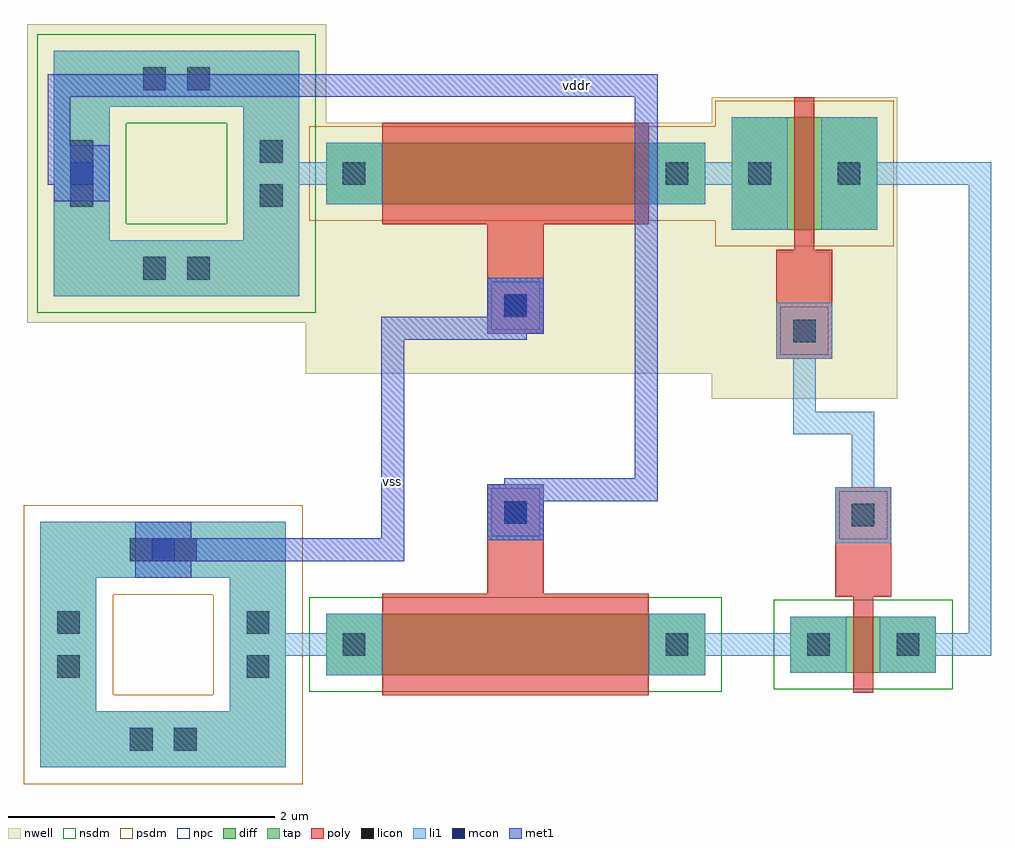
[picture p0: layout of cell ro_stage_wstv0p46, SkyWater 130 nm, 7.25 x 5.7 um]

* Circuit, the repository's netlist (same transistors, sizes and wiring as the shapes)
* extracted by klt extract --deck sky130

* cell ro_stage_wstv0p46
* pin a
* pin mnt_g,vddr
* pin mph_g,vss
* pin ny
* pin py
* pin y
.SUBCKT ro_stage_wstv0p46 a mnt_g|vddr mph_g|vss ny py y
* device instance $1 r0 *1 4.025,0.21 nfet
M$1 y a ny mph_g|vss nfet L=0.15U W=0.42U AS=0.1974P AD=0.1974P PS=1.78U
+ PD=1.78U
* device instance $2 r0 *1 1.42,0.21 nfet
M$2 ny mnt_g|vddr mph_g|vss mph_g|vss nfet L=2U W=0.46U AS=0.1932P AD=0.1932P
+ PS=1.76U PD=1.76U
* device instance $3 r0 *1 1.42,3.74 pfet
M$3 py mph_g|vss mnt_g|vddr mnt_g|vddr pfet L=2U W=0.46U AS=0.1932P AD=0.1932P
+ PS=1.76U PD=1.76U
* device instance $4 r0 *1 3.585,3.74 pfet
M$4 y a py mnt_g|vddr pfet L=0.15U W=0.84U AS=0.3948P AD=0.3948P PS=2.62U
+ PD=2.62U
.ENDS ro_stage_wstv0p46

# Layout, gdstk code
import gdstk
lib = gdstk.Library(unit=1e-6, precision=1e-09)
def R(c, l, rs):  # rectangles x0, y0, x1, y1
    for r in rs: c.add(gdstk.rectangle(r[:2], r[2:], *l))
def P(c, l, *ps):  # polygons
    for p in ps: c.add(gdstk.Polygon(p, *l))
nwell = (64, 20)
diff = (65, 20)
tap = (65, 44)
poly = (66, 20)
licon = (66, 44)
li1 = (67, 20)
mcon = (67, 44)
met1 = (68, 20)
nsdm = (93, 44)
psdm = (94, 20)
npc = (95, 20)

mos_array_3 = lib.new_cell('mos_array$3')
R(mos_array_3, nwell, [(-0.15,-0.15,1.24,2.11)])
R(mos_array_3, diff, [(0,0,1.09,0.84)])
R(mos_array_3, poly, [(0.47,-0.15,0.62,0.84), (0.47,0.84,0.62,0.99), (0.47,0.84,0.62,0.99), (0.335,0.99,0.755,1.81)])
R(mos_array_3, licon, [(0.125,0.335,0.295,0.505), (0.795,0.335,0.965,0.505), (0.46,1.515,0.63,1.685)])
R(mos_array_3, li1, [(0,0,0.42,0.84), (0.67,0,1.09,0.84), (0.335,1.39,0.755,1.81)])
R(mos_array_3, psdm, [(-0.125,-0.125,1.215,0.965)])
R(mos_array_3, npc, [(0.365,1.42,0.725,1.78)])

mp__mp = lib.new_cell('mp__mp')
mp__mp.add(gdstk.Reference(mos_array_3, (0,0)))

guard_ring_1 = lib.new_cell('guard_ring$1')
R(guard_ring_1, nwell, [(-0.2,-0.2,2.04,2.04)])
P(guard_ring_1, tap, [(0,0),(0,1.42),(0.42,1.42),(0.42,0.42),(1.42,0.42),(1.42,1.42),(0,1.42),(0,1.84),(1.84,1.84),(1.84,0)])
R(guard_ring_1, licon, [(0.67,0.125,0.84,0.295), (1,0.125,1.17,0.295), (0.125,0.67,0.295,0.84), (1.545,0.67,1.715,0.84), (0.125,1,0.295,1.17), (1.545,1,1.715,1.17), (0.67,1.545,0.84,1.715), (1,1.545,1.17,1.715)])
P(guard_ring_1, li1, [(0,0),(0,1.42),(0.42,1.42),(0.42,0.42),(1.42,0.42),(1.42,1.42),(0,1.42),(0,1.84),(1.84,1.84),(1.84,0)])
P(guard_ring_1, nsdm, [(-0.125,-0.125),(-0.125,1.295),(0.545,1.295),(0.545,0.545),(1.295,0.545),(1.295,1.295),(-0.125,1.295),(-0.125,1.965),(1.965,1.965),(1.965,-0.125)])

nwell_tap__nwell_tap = lib.new_cell('nwell_tap__nwell_tap')
nwell_tap__nwell_tap.add(gdstk.Reference(guard_ring_1, (0,0)))

mos_array_2 = lib.new_cell('mos_array$2')
R(mos_array_2, nwell, [(-0.15,-0.15,2.99,1.73)])
R(mos_array_2, diff, [(0,0,2.84,0.46)])
R(mos_array_2, poly, [(0.42,-0.15,2.42,0.46), (0.42,0.46,2.42,0.61), (0.42,0.46,2.42,0.61), (1.21,0.61,1.63,1.43)])
R(mos_array_2, licon, [(0.125,0.145,0.295,0.315), (2.545,0.145,2.715,0.315), (1.335,1.135,1.505,1.305)])
R(mos_array_2, li1, [(0,0,0.42,0.46), (2.42,0,2.84,0.46), (1.21,1.01,1.63,1.43)])
R(mos_array_2, psdm, [(-0.125,-0.125,2.965,0.585)])
R(mos_array_2, npc, [(1.24,1.04,1.6,1.4)])

mph__mph = lib.new_cell('mph__mph')
mph__mph.add(gdstk.Reference(mos_array_2, (0,0)))

mos_array_1 = lib.new_cell('mos_array$1')
R(mos_array_1, diff, [(0,0,1.09,0.42)])
R(mos_array_1, poly, [(0.47,-0.15,0.62,0.42), (0.47,0.42,0.62,0.57), (0.47,0.42,0.62,0.57), (0.335,0.57,0.755,1.39)])
R(mos_array_1, licon, [(0.125,0.125,0.295,0.295), (0.795,0.125,0.965,0.295), (0.46,1.095,0.63,1.265)])
R(mos_array_1, li1, [(0,0,0.42,0.42), (0.67,0,1.09,0.42), (0.335,0.97,0.755,1.39)])
R(mos_array_1, nsdm, [(-0.125,-0.125,1.215,0.545)])
R(mos_array_1, npc, [(0.365,1,0.725,1.36)])

mn__mn = lib.new_cell('mn__mn')
mn__mn.add(gdstk.Reference(mos_array_1, (0,0)))

guard_ring = lib.new_cell('guard_ring')
P(guard_ring, tap, [(0,0),(0,1.42),(0.42,1.42),(0.42,0.42),(1.42,0.42),(1.42,1.42),(0,1.42),(0,1.84),(1.84,1.84),(1.84,0)])
R(guard_ring, licon, [(0.67,0.125,0.84,0.295), (1,0.125,1.17,0.295), (0.125,0.67,0.295,0.84), (1.545,0.67,1.715,0.84), (0.125,1,0.295,1.17), (1.545,1,1.715,1.17), (0.67,1.545,0.84,1.715), (1,1.545,1.17,1.715)])
P(guard_ring, li1, [(0,0),(0,1.42),(0.42,1.42),(0.42,0.42),(1.42,0.42),(1.42,1.42),(0,1.42),(0,1.84),(1.84,1.84),(1.84,0)])
P(guard_ring, psdm, [(-0.125,-0.125),(-0.125,1.295),(0.545,1.295),(0.545,0.545),(1.295,0.545),(1.295,1.295),(-0.125,1.295),(-0.125,1.965),(1.965,1.965),(1.965,-0.125)])

psub_tap__psub_tap = lib.new_cell('psub_tap__psub_tap')
psub_tap__psub_tap.add(gdstk.Reference(guard_ring, (0,0)))

mos_array = lib.new_cell('mos_array')
R(mos_array, diff, [(0,0,2.84,0.46)])
R(mos_array, poly, [(0.42,-0.15,2.42,0.46), (0.42,0.46,2.42,0.61), (0.42,0.46,2.42,0.61), (1.21,0.61,1.63,1.43)])
R(mos_array, licon, [(0.125,0.145,0.295,0.315), (2.545,0.145,2.715,0.315), (1.335,1.135,1.505,1.305)])
R(mos_array, li1, [(0,0,0.42,0.46), (2.42,0,2.84,0.46), (1.21,1.01,1.63,1.43)])
R(mos_array, nsdm, [(-0.125,-0.125,2.965,0.585)])
R(mos_array, npc, [(1.24,1.04,1.6,1.4)])

mnt__mnt = lib.new_cell('mnt__mnt')
mnt__mnt.add(gdstk.Reference(mos_array, (0,0)))

core__core = lib.new_cell('core__core')
R(core__core, li1, [(3.815,1.18,4.235,1.35), (3.375,2.39,3.795,2.56)])
core__core.add(gdstk.FlexPath([(3.585,2.56),(3.585,1.87),(4.025,1.87),(4.025,1.18)], 0.17, ends="flush", simple_path=True, layer=67, datatype=20))  # li1
core__core.add(gdstk.FlexPath([(3.92,3.74),(4.9,3.74),(4.9,0.21),(4.36,0.21)], 0.17, ends="flush", simple_path=True, layer=67, datatype=20))  # li1
core__core.add(gdstk.FlexPath([(2.63,3.74),(3.25,3.74)], 0.17, ends="flush", simple_path=True, layer=67, datatype=20))  # li1
core__core.add(gdstk.FlexPath([(2.63,0.21),(3.69,0.21)], 0.17, ends="flush", simple_path=True, layer=67, datatype=20))  # li1
core__core.add(gdstk.FlexPath([(0.21,3.74),(-0.41,3.74)], 0.17, ends="flush", simple_path=True, layer=67, datatype=20))  # li1
core__core.add(gdstk.FlexPath([(0.21,0.21),(-0.51,0.21)], 0.17, ends="flush", simple_path=True, layer=67, datatype=20))  # li1
core__core.add(gdstk.Reference(mp__mp, (3.04,4.16), x_reflection=True))
core__core.add(gdstk.Reference(nwell_tap__nwell_tap, (-2.04,2.82)))
core__core.add(gdstk.Reference(mph__mph, (0,3.97), x_reflection=True))
core__core.add(gdstk.Reference(mn__mn, (3.48,0)))
core__core.add(gdstk.Reference(psub_tap__psub_tap, (-2.14,-0.71)))
core__core.add(gdstk.Reference(mnt__mnt, (0,-0.02)))
core__core.add(gdstk.Label('a', (3.805,1.87), layer=67, texttype=5))
core__core.add(gdstk.Label('y', (4.9,2.195), layer=67, texttype=5))
core__core.add(gdstk.Label('py', (2.94,3.74), layer=67, texttype=5))
core__core.add(gdstk.Label('ny', (3.16,0.21), layer=67, texttype=5))
core__core.add(gdstk.Label('vddr', (-0.1,3.74), layer=67, texttype=5))
core__core.add(gdstk.Label('vss', (-0.15,0.21), layer=67, texttype=5))
core__core.add(gdstk.Label('vddr', (-1.83,3.74), layer=67, texttype=5))
core__core.add(gdstk.Label('vss', (-1.22,0.92), layer=67, texttype=5))
core__core.add(gdstk.Label('mph_g', (1.42,2.75), layer=67, texttype=5))
core__core.add(gdstk.Label('mnt_g', (1.42,1.2), layer=67, texttype=5))

ro_stage_wstv0p46 = lib.new_cell('ro_stage_wstv0p46')
R(ro_stage_wstv0p46, li1, [(-1.43,0.71,-1.01,1.13), (1.21,0.99,1.63,1.41), (1.21,2.54,1.63,2.96), (-2.04,3.53,-1.62,3.95)])
R(ro_stage_wstv0p46, mcon, [(-1.305,0.835,-1.135,1.005), (1.335,1.115,1.505,1.285), (1.335,2.665,1.505,2.835), (-1.915,3.655,-1.745,3.825)])
R(ro_stage_wstv0p46, met1, [(-1.43,0.71,-1.01,1.13), (1.21,0.99,1.63,1.41), (1.21,2.54,1.63,2.96), (-2.04,3.53,-1.62,3.95)])
ro_stage_wstv0p46.add(gdstk.FlexPath([(1.42,2.75),(1.42,2.58),(0.5,2.58),(0.5,0.92),(-1.22,0.92),(-1.22,0.92)], 0.17, ends="flush", simple_path=True, layer=68, datatype=20))  # met1
ro_stage_wstv0p46.add(gdstk.FlexPath([(1.42,1.2),(1.42,1.37),(2.4,1.37),(2.4,4.4),(-2,4.4),(-2,3.74),(-1.83,3.74)], 0.17, ends="flush", simple_path=True, layer=68, datatype=20))  # met1
ro_stage_wstv0p46.add(gdstk.Reference(core__core, (0,0)))
ro_stage_wstv0p46.add(gdstk.Label('vss', (0.5,1.435), layer=68, texttype=5))
ro_stage_wstv0p46.add(gdstk.Label('vddr', (1.875,4.4), layer=68, texttype=5))

lib.write_gds('ro_stage_wstv0p46.gds')
